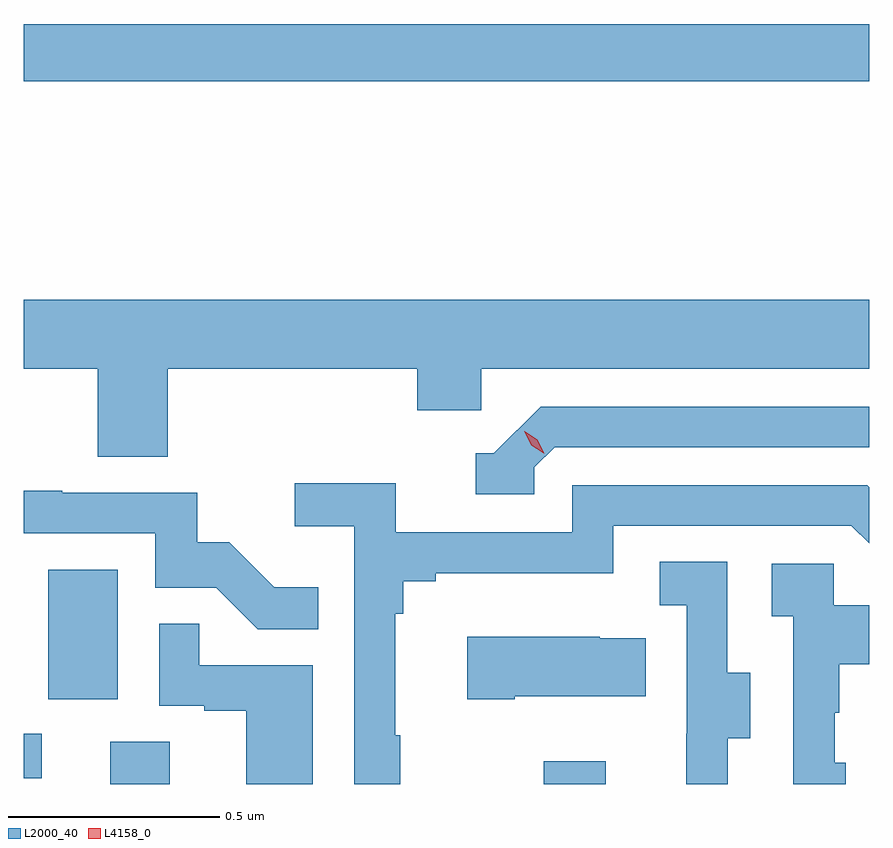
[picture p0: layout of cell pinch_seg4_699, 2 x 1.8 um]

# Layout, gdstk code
import gdstk
lib = gdstk.Library(unit=1e-6, precision=1e-09)
def R(c, l, rs):  # rectangles x0, y0, x1, y1
    for r in rs: c.add(gdstk.rectangle(r[:2], r[2:], *l))
def P(c, l, *ps):  # polygons
    for p in ps: c.add(gdstk.Polygon(p, *l))
L2000_40 = (2000, 40)
L4158_0 = (4158, 0)

pinch_seg4_699 = lib.new_cell('pinch_seg4_699')
R(pinch_seg4_699, L2000_40, [(1097.645,750.55,1097.785,750.65), (1098.67,750.55,1098.817,750.604), (1097.44,750.564,1097.482,750.669), (1097.498,750.75,1097.662,751.057), (1097.44,752.212,1099.44,752.348)])
P(pinch_seg4_699, L2000_40, [(1097.78,751.532),(1098.371,751.532),(1098.371,751.434),(1098.522,751.434),(1098.522,751.532),(1099.44,751.532),(1099.44,751.696),(1097.44,751.696),(1097.44,751.532),(1097.615,751.532),(1097.615,751.324),(1097.78,751.324)],
  [(1098.648,751.299),(1098.696,751.347),(1099.44,751.347),(1099.44,751.443),(1098.663,751.443),(1098.552,751.332),(1098.509,751.332),(1098.509,751.236),(1098.648,751.236)],
  [(1098.331,750.665),(1098.319,750.665),(1098.319,750.953),(1098.338,750.953),(1098.338,751.03),(1098.415,751.03),(1098.415,751.049),(1098.834,751.049),(1098.834,751.161),(1099.398,751.161),(1099.44,751.119),(1099.44,751.252),(1099.435,751.257),(1098.738,751.257),(1098.738,751.146),(1098.32,751.146),(1098.32,751.262),(1098.081,751.262),(1098.081,751.16),(1098.222,751.16),(1098.222,750.55),(1098.331,750.55)],
  [(1098.137,751.015),(1098.033,751.015),(1097.926,751.122),(1097.85,751.122),(1097.85,751.239),(1097.531,751.239),(1097.531,751.244),(1097.44,751.244),(1097.44,751.143),(1097.751,751.143),(1097.751,751.014),(1097.895,751.014),(1097.993,750.916),(1098.137,750.916)],
  [(1099.105,750.658),(1099.159,750.658),(1099.159,750.813),(1099.104,750.813),(1099.104,751.076),(1098.945,751.076),(1098.945,750.973),(1099.008,750.973),(1099.008,750.669),(1099.007,750.669),(1099.007,750.55),(1099.105,750.55)],
  [(1099.384,750.6),(1099.359,750.6),(1099.359,750.719),(1099.369,750.719),(1099.369,750.833),(1099.44,750.833),(1099.44,750.973),(1099.356,750.973),(1099.356,751.071),(1099.209,751.071),(1099.209,750.947),(1099.26,750.947),(1099.26,750.55),(1099.384,750.55)],
  [(1098.124,750.831),(1097.855,750.831),(1097.855,750.929),(1097.76,750.929),(1097.76,750.735),(1097.867,750.735),(1097.867,750.723),(1097.966,750.723),(1097.966,750.55),(1098.124,750.55)],
  [(1098.601,750.758),(1098.911,750.758),(1098.911,750.895),(1098.803,750.895),(1098.803,750.898),(1098.489,750.898),(1098.489,750.751),(1098.601,750.751)])
P(pinch_seg4_699, L4158_0, [(1098.67,751.332),(1098.64,751.352),(1098.624,751.385),(1098.624,751.385),(1098.625,751.385),(1098.655,751.365),(1098.671,751.332),(1098.671,751.332)])

lib.write_gds('pinch_seg4_699.gds')
